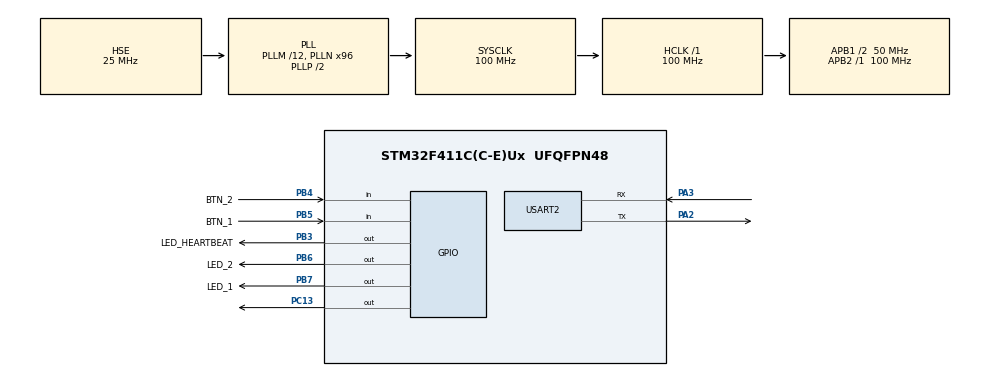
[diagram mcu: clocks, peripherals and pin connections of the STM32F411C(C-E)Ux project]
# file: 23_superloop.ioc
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Mcu.Family=STM32F4
Mcu.Name=STM32F411C(C-E)Ux
Mcu.Package=UFQFPN48
NVIC.PriorityGroup=NVIC_PRIORITYGROUP_4
PA13.Mode=Serial_Wire
PA13.Signal=SYS_JTMS-SWDIO
PA14.Mode=Serial_Wire
PA14.Signal=SYS_JTCK-SWCLK
PA2.Mode=Asynchronous
PA2.Signal=USART2_TX
PA3.Mode=Asynchronous
PA3.Signal=USART2_RX
PB3.GPIO_Label=LED_HEARTBEAT
PB3.Signal=GPIO_Output
PB4.GPIO_Label=BTN_2
PB4.GPIO_PuPd=GPIO_PULLUP
PB4.Signal=GPIO_Input
PB5.GPIO_Label=BTN_1
PB5.GPIO_PuPd=GPIO_PULLUP
PB5.Signal=GPIO_Input
PB6.GPIO_Label=LED_2
PB6.Signal=GPIO_Output
PB7.GPIO_Label=LED_1
PB7.Signal=GPIO_Output
PC13-ANTI_TAMP.Signal=GPIO_Output
PC14-OSC32_IN.Mode=LSE-External-Oscillator
PC14-OSC32_IN.Signal=RCC_OSC32_IN
PC15-OSC32_OUT.Mode=LSE-External-Oscillator
PC15-OSC32_OUT.Signal=RCC_OSC32_OUT
PH0\ -\ OSC_IN.Mode=HSE-External-Oscillator
PH0\ -\ OSC_IN.Signal=RCC_OSC_IN
PH1\ -\ OSC_OUT.Mode=HSE-External-Oscillator
PH1\ -\ OSC_OUT.Signal=RCC_OSC_OUT
ProjectManager.HeapSize=0x200
ProjectManager.StackSize=0x400
ProjectManager.TargetToolchain=STM32CubeIDE
RCC.48MHZClocksFreq_Value=50000000
RCC.AHBFreq_Value=100000000
RCC.APB1CLKDivider=RCC_HCLK_DIV2
RCC.APB1Freq_Value=50000000
RCC.APB1TimFreq_Value=100000000
RCC.APB2Freq_Value=100000000
RCC.APB2TimFreq_Value=100000000
RCC.CortexFreq_Value=100000000
RCC.HCLKFreq_Value=100000000
RCC.HSE_VALUE=25000000
RCC.HSI_VALUE=16000000
RCC.PLLM=12
RCC.PLLN=96
RCC.PLLSourceVirtual=RCC_PLLSOURCE_HSE
RCC.SYSCLKFreq_VALUE=100000000
RCC.SYSCLKSource=RCC_SYSCLKSOURCE_PLLCLK
RCC.VCOOutputFreq_Value=200000000
USART2.VirtualMode=VM_ASYNC
board=custom

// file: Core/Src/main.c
/* USER CODE BEGIN Header */
/**
 ******************************************************************************
 * @file           : main.c
 * @brief          : Main program body
 ******************************************************************************
 * @attention
 *
 * Copyright (c) 2026 STMicroelectronics.
 * All rights reserved.
 *
 * This software is licensed under terms that can be found in the LICENSE file
 * in the root directory of this software component.
 * If no LICENSE file comes with this software, it is provided AS-IS.
 *
 ******************************************************************************
 */
/* USER CODE END Header */
#include "main.h"

/* USER CODE BEGIN PD */
#define BTN_IDLE 0x0000
#define BTN_PRESSED 0xFFFF
/* USER CODE END PD */

UART_HandleTypeDef huart2;

void SystemClock_Config(void);
static void MX_GPIO_Init(void);
static void MX_USART2_UART_Init(void);

/* USER CODE BEGIN 0 */
static uint32_t now = 0u;

typedef enum
{
    LEDS_OFF = 0u,
    LEDS_ON
} Leds_Status;
static Leds_Status leds_status = LEDS_ON;

typedef struct
{
    GPIO_TypeDef *port;
    uint16_t pin;
    uint32_t half_period;
    uint32_t last_change_timestamp;
} Led;

Led heartbeat = {
    .port = LED_HEARTBEAT_GPIO_Port,
    .pin = LED_HEARTBEAT_Pin,
    .half_period = 500u,
    .last_change_timestamp = 0u
};

void Led_Heartbeat(const uint32_t now)
{
    if ((uint32_t)(now - heartbeat.last_change_timestamp) >= heartbeat.half_period)
    {
        HAL_GPIO_TogglePin(heartbeat.port, heartbeat.pin);
        heartbeat.last_change_timestamp = now;
    }
}

#define LEDS_SIZE 3
Led LEDS[LEDS_SIZE] = {
    [0] = { .port = LED_1_GPIO_Port, .pin = LED_1_Pin, .half_period = 100u, .last_change_timestamp = 0u },
    [1] = { .port = LED_2_GPIO_Port, .pin = LED_2_Pin, .half_period = 250u, .last_change_timestamp = 0u },
    [2] = { .port = GPIOC, .pin = GPIO_PIN_13, .half_period = 500u, .last_change_timestamp = 0u },
};

typedef struct
{
    GPIO_TypeDef *port;
    uint16_t pin;
    uint16_t mask;
    uint32_t write_idx;
    uint32_t last_update_timestamp;
    uint32_t update_interval;
    uint8_t pressed;
} Button;

Button btn_leds_stop = {
    .port = BTN_1_GPIO_Port,
    .pin = BTN_1_Pin,
    .mask = 0u,
    .write_idx = 0u,
    .last_update_timestamp = 0u,
    .update_interval = 0u,
    .pressed = 0u
};

Button btn_led_2_change_interval = {
    .port = BTN_2_GPIO_Port,
    .pin = BTN_2_Pin,
    .mask = 0u,
    .write_idx = 0u,
    .last_update_timestamp = 0u,
    .update_interval = 100u,
    .pressed = 0u
};

void Button_Read(Button *btn)
{
    uint8_t raw = (HAL_GPIO_ReadPin(btn->port, btn->pin) == GPIO_PIN_RESET);
    if (raw == 1u)
    {
        btn->mask |= (1 << btn->write_idx);
    }
    else
    {
        btn->mask &= ~(1 << btn->write_idx);
    }
    btn->write_idx = (btn->write_idx + 1) % 16;
}

/* USER CODE END 0 */

int main(void)
{

    /* MCU Configuration--------------------------------------------------------*/

    /* Reset of all peripherals, Initializes the Flash interface and the Systick. */
    HAL_Init();

    /* Configure the system clock */
    SystemClock_Config();

    /* Initialize all configured peripherals */
    MX_GPIO_Init();
    MX_USART2_UART_Init();

    /* Infinite loop */
    /* USER CODE BEGIN WHILE */
    while (1)
    {
        now = HAL_GetTick();
        Led_Heartbeat(now);

        Button_Read(&btn_leds_stop);
        Button_Read(&btn_led_2_change_interval);

        const uint32_t btn_led_2_time_diff = (uint32_t)(now - btn_led_2_change_interval.last_update_timestamp);
        if ((leds_status == LEDS_ON) && (btn_led_2_time_diff >= btn_led_2_change_interval.update_interval))
        {
            if ((btn_led_2_change_interval.mask == BTN_PRESSED) && (btn_led_2_change_interval.pressed == 0u))
            {
                LEDS[1].half_period = now % 1000u;
                btn_led_2_change_interval.last_update_timestamp = now;
                btn_led_2_change_interval.pressed = 1u;
            }
            else if (btn_led_2_change_interval.mask == BTN_IDLE)
            {
                btn_led_2_change_interval.pressed = 0u;
            }
        }

        if (btn_leds_stop.mask != BTN_PRESSED)
        {
            if (leds_status != LEDS_ON)
            {
                leds_status = LEDS_ON;
            }

            for (uint8_t idx = 0; idx < LEDS_SIZE; idx++)
            {
                Led *led = &LEDS[idx];
                if ((uint32_t)(now - led->last_change_timestamp) >= led->half_period)
                {
                    HAL_GPIO_TogglePin(led->port, led->pin);
                    led->last_change_timestamp = now;
                }
            }
        }
        else
        {
            if (leds_status != LEDS_OFF)
            {
                HAL_GPIO_WritePin(LEDS[0].port, LEDS[0].pin, GPIO_PIN_RESET);
                HAL_GPIO_WritePin(LEDS[1].port, LEDS[1].pin, GPIO_PIN_RESET);
                HAL_GPIO_WritePin(LEDS[2].port, LEDS[2].pin, GPIO_PIN_SET);
                leds_status = LEDS_OFF;
            }
        }

        /* USER CODE END WHILE */

    }
}

void SystemClock_Config(void)
{
    RCC_OscInitTypeDef RCC_OscInitStruct = { 0 };
    RCC_ClkInitTypeDef RCC_ClkInitStruct = { 0 };

    /** Configure the main internal regulator output voltage
     */
    __HAL_RCC_PWR_CLK_ENABLE();
    __HAL_PWR_VOLTAGESCALING_CONFIG(PWR_REGULATOR_VOLTAGE_SCALE1);

    /** Initializes the RCC Oscillators according to the specified parameters
     * in the RCC_OscInitTypeDef structure.
     */
    RCC_OscInitStruct.OscillatorType = RCC_OSCILLATORTYPE_HSE;
    RCC_OscInitStruct.HSEState = RCC_HSE_ON;
    RCC_OscInitStruct.PLL.PLLState = RCC_PLL_ON;
    RCC_OscInitStruct.PLL.PLLSource = RCC_PLLSOURCE_HSE;
    RCC_OscInitStruct.PLL.PLLM = 12;
    RCC_OscInitStruct.PLL.PLLN = 96;
    RCC_OscInitStruct.PLL.PLLP = RCC_PLLP_DIV2;
    RCC_OscInitStruct.PLL.PLLQ = 4;
    if (HAL_RCC_OscConfig(&RCC_OscInitStruct) != HAL_OK)
    {
        Error_Handler();
    }

    /** Initializes the CPU, AHB and APB buses clocks
     */
    RCC_ClkInitStruct.ClockType = RCC_CLOCKTYPE_HCLK | RCC_CLOCKTYPE_SYSCLK | RCC_CLOCKTYPE_PCLK1 | RCC_CLOCKTYPE_PCLK2;
    RCC_ClkInitStruct.SYSCLKSource = RCC_SYSCLKSOURCE_PLLCLK;
    RCC_ClkInitStruct.AHBCLKDivider = RCC_SYSCLK_DIV1;
    RCC_ClkInitStruct.APB1CLKDivider = RCC_HCLK_DIV2;
    RCC_ClkInitStruct.APB2CLKDivider = RCC_HCLK_DIV1;

    if (HAL_RCC_ClockConfig(&RCC_ClkInitStruct, FLASH_LATENCY_3) != HAL_OK)
    {
        Error_Handler();
    }
}

static void MX_USART2_UART_Init(void)
{

    huart2.Instance = USART2;
    huart2.Init.BaudRate = 115200;
    huart2.Init.WordLength = UART_WORDLENGTH_8B;
    huart2.Init.StopBits = UART_STOPBITS_1;
    huart2.Init.Parity = UART_PARITY_NONE;
    huart2.Init.Mode = UART_MODE_TX_RX;
    huart2.Init.HwFlowCtl = UART_HWCONTROL_NONE;
    huart2.Init.OverSampling = UART_OVERSAMPLING_16;
    if (HAL_UART_Init(&huart2) != HAL_OK)
    {
        Error_Handler();
    }

}

static void MX_GPIO_Init(void)
{
    GPIO_InitTypeDef GPIO_InitStruct = { 0 };

    /* GPIO Ports Clock Enable */
    __HAL_RCC_GPIOC_CLK_ENABLE();
    __HAL_RCC_GPIOH_CLK_ENABLE();
    __HAL_RCC_GPIOA_CLK_ENABLE();
    __HAL_RCC_GPIOB_CLK_ENABLE();

    /*Configure GPIO pin Output Level */
    HAL_GPIO_WritePin(GPIOC, GPIO_PIN_13, GPIO_PIN_RESET);

    /*Configure GPIO pin Output Level */
    HAL_GPIO_WritePin(GPIOB, LED_HEARTBEAT_Pin | LED_2_Pin | LED_1_Pin, GPIO_PIN_RESET);

    /*Configure GPIO pin : PC13 */
    GPIO_InitStruct.Pin = GPIO_PIN_13;
    GPIO_InitStruct.Mode = GPIO_MODE_OUTPUT_PP;
    GPIO_InitStruct.Pull = GPIO_NOPULL;
    GPIO_InitStruct.Speed = GPIO_SPEED_FREQ_LOW;
    HAL_GPIO_Init(GPIOC, &GPIO_InitStruct);

    /*Configure GPIO pins : LED_HEARTBEAT_Pin LED_2_Pin LED_1_Pin */
    GPIO_InitStruct.Pin = LED_HEARTBEAT_Pin | LED_2_Pin | LED_1_Pin;
    GPIO_InitStruct.Mode = GPIO_MODE_OUTPUT_PP;
    GPIO_InitStruct.Pull = GPIO_NOPULL;
    GPIO_InitStruct.Speed = GPIO_SPEED_FREQ_LOW;
    HAL_GPIO_Init(GPIOB, &GPIO_InitStruct);

    /*Configure GPIO pins : BTN_2_Pin BTN_1_Pin */
    GPIO_InitStruct.Pin = BTN_2_Pin | BTN_1_Pin;
    GPIO_InitStruct.Mode = GPIO_MODE_INPUT;
    GPIO_InitStruct.Pull = GPIO_PULLUP;
    HAL_GPIO_Init(GPIOB, &GPIO_InitStruct);

}

void Error_Handler(void)
{
    __disable_irq();
    while (1)
    {
    }
}
#ifdef USE_FULL_ASSERT
/**
  * @brief  Reports the name of the source file and the source line number
  *         where the assert_param error has occurred.
  * @param  file: pointer to the source file name
  * @param  line: assert_param error line source number
  * @retval None
  */
void assert_failed(uint8_t *file, uint32_t line)
{
  /* USER CODE BEGIN 6 */
  /* User can add his own implementation to report the file name and line number,
     printf("Wrong parameters value: file %s on line %d\r\n", file, line) */
  /* USER CODE END 6 */
}
#endif /* USE_FULL_ASSERT */
